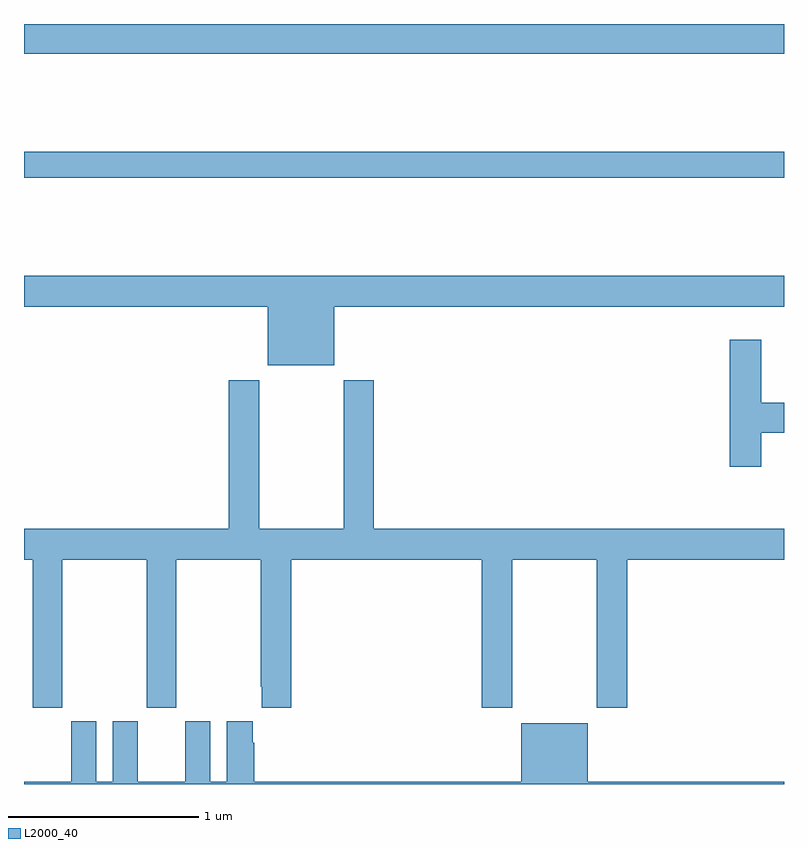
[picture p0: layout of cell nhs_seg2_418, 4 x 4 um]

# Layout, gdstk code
import gdstk
lib = gdstk.Library(unit=1e-6, precision=1e-09)
def R(c, l, rs):  # rectangles x0, y0, x1, y1
    for r in rs: c.add(gdstk.rectangle(r[:2], r[2:], *l))
def P(c, l, *ps):  # polygons
    for p in ps: c.add(gdstk.Polygon(p, *l))
L2000_40 = (2000, 40)

nhs_seg2_418 = lib.new_cell('nhs_seg2_418')
R(nhs_seg2_418, L2000_40, [(131,638.992,135,639.128), (131,639.644,135,639.8)])
P(nhs_seg2_418, L2000_40, [(132.634,638.312),(135,638.312),(135,638.476),(131,638.476),(131,638.312),(132.284,638.312),(132.284,638.003),(132.634,638.003)],
  [(134.881,637.649),(135,637.649),(135,637.807),(134.881,637.807),(134.881,638.137),(134.714,638.137),(134.714,637.47),(134.881,637.47)],
  [(131.202,636.98),(131.647,636.98),(131.647,636.201),(131.802,636.201),(131.802,636.98),(132.247,636.98),(132.247,636.313),(132.251,636.313),(132.251,636.201),(132.407,636.201),(132.407,636.98),(133.409,636.98),(133.409,636.201),(133.569,636.201),(133.569,636.98),(134.014,636.98),(134.014,636.201),(134.174,636.201),(134.174,636.98),(135,636.98),(135,637.144),(132.842,637.144),(132.842,637.924),(132.682,637.924),(132.682,637.144),(132.237,637.144),(132.237,637.924),(132.077,637.924),(132.077,637.144),(131,637.144),(131,636.98),(131.047,636.98),(131.047,636.201),(131.202,636.201)],
  [(135,635.812),(133.966,635.812),(133.966,636.121),(133.616,636.121),(133.616,635.812),(132.212,635.812),(132.212,636.017),(132.205,636.017),(132.205,636.13),(132.068,636.13),(132.068,635.812),(131.98,635.812),(131.98,636.13),(131.849,636.13),(131.849,635.812),(131.599,635.812),(131.599,636.13),(131.468,636.13),(131.468,635.812),(131.38,635.812),(131.38,636.13),(131.249,636.13),(131.249,635.812),(131,635.812),(131,635.8),(135,635.8)])

lib.write_gds('nhs_seg2_418.gds')
